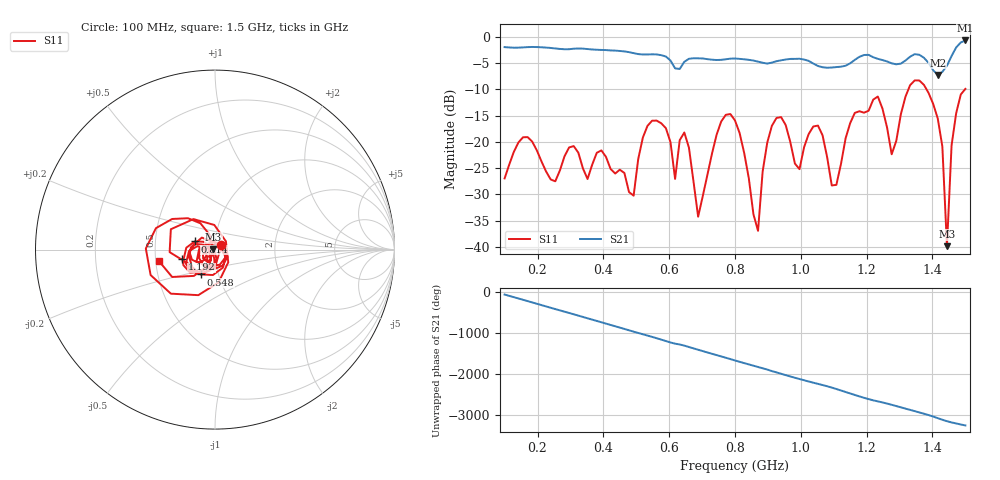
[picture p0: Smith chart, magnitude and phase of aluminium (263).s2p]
! NanoVNA-App
! Date: 2025-09-25 14:57:19
! Start: 100MHz Stop: 1,5GHz Points: 101
! S-Parameter data: F S11 S21 S12 S22
# Hz S RI R 50
!  Frequency  S11_Real  S11_Imag  S21_Real  S21_Imag  S12_Real  S12_Imag  S22_Real  S22_Imag
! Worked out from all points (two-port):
!   101 points, 100 MHz to 1.5 GHz, reference 50 ohm
!   highest |S21| = -0.65 dB at 1.5 GHz (marker M1); lowest = -7.2 dB at 1.416 GHz (marker M2)
!   |S21| within 3 dB of the highest: start of sweep to 586.4 MHz; 1.458 GHz to end of sweep (the widest 2 of 4)
!   lowest |S11| = -39.9 dB at 1.444 GHz (marker M3), VSWR 1.02, Z = 49 + j0.217 ohm
!   |S11| at or under -10 dB: start of sweep to 1.327 GHz; 1.382 GHz to 1.499 GHz (116.4 MHz wide, 8.08 % of centre)
!   S12 and S22 are empty: the file has one direction only
!   S11 on the Smith chart (normalised r, x): 100 MHz: 1.07, +0.06; 548 MHz: 0.82, -0.23; 814 MHz: 0.79, +0.07; 1.192 GHz: 0.69, -0.08; 1.5 GHz: 0.52, -0.07
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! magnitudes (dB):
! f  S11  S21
! 100 MHz  -27.0  -1.9
! 338 MHz  -25.1  -2.2
! 492 MHz  -30.2  -3.1
! 548 MHz  -16.0  -3.3
! 576 MHz  -16.5  -3.5
! 618 MHz  -27.1  -6.0
! 646 MHz  -18.2  -4.7
! 688 MHz  -34.3  -4.1
! 800 MHz  -15.9  -4.1
! 814 MHz  -18.3  -4.2
! 870 MHz  -37.0  -4.7
! 912 MHz  -16.9  -4.9
! 996 MHz  -25.2  -4.1
! 1.038 GHz  -17.1  -5.1
! 1.108 GHz  -28.2  -5.7
! 1.192 GHz  -14.4  -3.4
! 1.276 GHz  -22.4  -5.0
! 1.346 GHz  -8.3  -3.3
! 1.416 GHz  -15.5  -7.2
! 1.444 GHz  -39.9  -5.5
! 1.458 GHz  -20.7  -3.6
! 1.5 GHz  -9.9  -0.7
